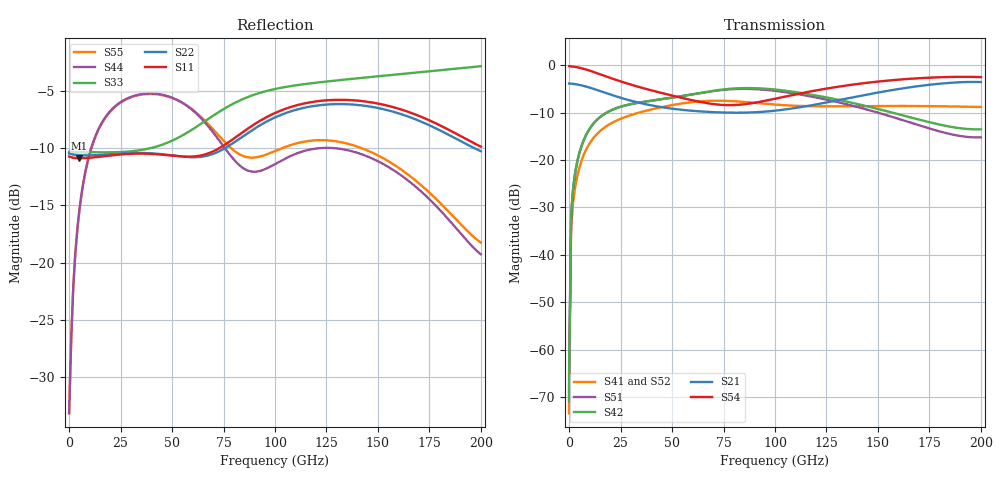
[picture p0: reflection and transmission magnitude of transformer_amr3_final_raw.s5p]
#  GHZ S DB R 50.0
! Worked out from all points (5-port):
!   202 points, 10 MHz to 200 GHz, reference 50 ohm
!   strongest paths, dB at 10 MHz, 49 GHz, 100 GHz, 150 GHz, 200 GHz:
!     S54: -0.2, -6.3, -7.1, -3.4, -2.5
!     S21: -3.8, -9.1, -9.6, -5.8, -3.5
!     S42: -70.9, -6.9, -5.1, -9.2, -13.5
!     S51: -70.9, -6.9, -5.4, -10.0, -15.2
!     S41: -73.5, -8.5, -8.3, -8.6, -8.8
!     S52: -73.4, -8.5, -8.3, -8.7, -9.0
!   lowest |S11| = -10.9 dB at 5 GHz (marker M1), VSWR 1.80, Z = 29 + j8.75 ohm
!   |S11| at or under -10 dB: start of sweep to 73.04 GHz
